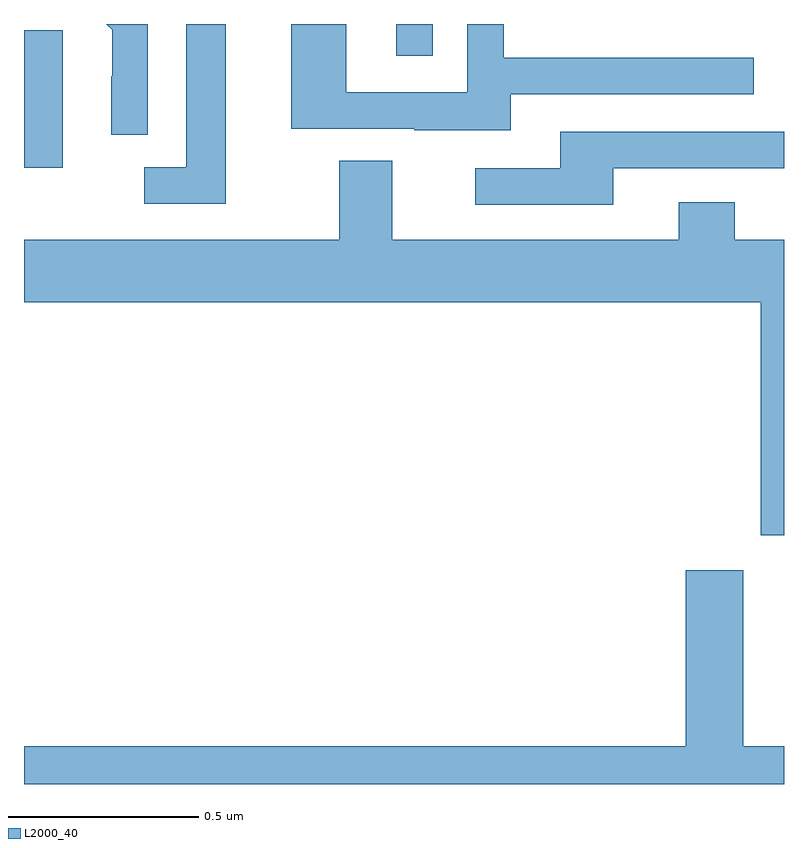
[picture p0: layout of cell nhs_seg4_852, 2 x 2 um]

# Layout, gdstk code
import gdstk
lib = gdstk.Library(unit=1e-6, precision=1e-09)
def R(c, l, rs):  # rectangles x0, y0, x1, y1
    for r in rs: c.add(gdstk.rectangle(r[:2], r[2:], *l))
def P(c, l, *ps):  # polygons
    for p in ps: c.add(gdstk.Polygon(p, *l))
L2000_40 = (2000, 40)

nhs_seg4_852 = lib.new_cell('nhs_seg4_852')
R(nhs_seg4_852, L2000_40, [(121,782.522,121.102,782.883), (121.979,782.817,122.076,782.9)])
P(nhs_seg4_852, L2000_40, [(122.281,782.715),(122.921,782.715),(122.921,782.811),(122.262,782.811),(122.262,782.9),(122.166,782.9),(122.166,782.721),(121.848,782.721),(121.848,782.9),(121.703,782.9),(121.703,782.625),(122.027,782.625),(122.027,782.621),(122.281,782.621)],
  [(121.326,782.9),(121.217,782.9),(121.232,782.885),(121.232,782.762),(121.23,782.762),(121.23,782.608),(121.326,782.608)],
  [(121.531,782.9),(121.427,782.9),(121.427,782.523),(121.317,782.523),(121.317,782.427),(121.531,782.427)],
  [(122.551,782.52),(123,782.52),(123,782.616),(122.411,782.616),(122.411,782.52),(122.187,782.52),(122.187,782.424),(122.551,782.424)],
  [(123,782.332),(122.871,782.332),(122.871,782.431),(122.723,782.431),(122.723,782.332),(121.969,782.332),(121.969,782.54),(121.829,782.54),(121.829,782.332),(121,782.332),(121,782.168),(122.939,782.168),(122.939,781.554),(123,781.554)],
  [(123,781),(122.893,781),(122.893,781.462),(122.741,781.462),(122.741,781),(121,781),(121,780.9),(123,780.9)])

lib.write_gds('nhs_seg4_852.gds')
